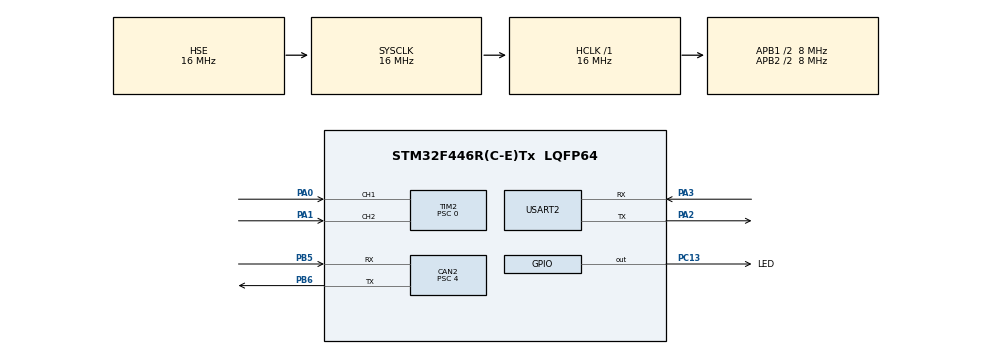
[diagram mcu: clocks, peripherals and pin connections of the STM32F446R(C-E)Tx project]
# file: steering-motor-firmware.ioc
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CAN2.BS1=CAN_BS1_2TQ
CAN2.CalculateBaudRate=500000
CAN2.CalculateTimeBit=2000
CAN2.CalculateTimeQuantum=500.0
CAN2.Prescaler=4
Mcu.Family=STM32F4
Mcu.Name=STM32F446R(C-E)Tx
Mcu.Package=LQFP64
NVIC.CAN2_RX0_IRQn=true\:0\:0\:false\:false\:true\:true\:true\:true
NVIC.CAN2_RX1_IRQn=true\:0\:0\:false\:false\:true\:true\:true\:true
NVIC.CAN2_TX_IRQn=true\:0\:0\:false\:false\:true\:true\:true\:true
NVIC.PriorityGroup=NVIC_PRIORITYGROUP_4
NVIC.TIM8_BRK_TIM12_IRQn=true\:0\:0\:false\:false\:true\:true\:true\:true
NVIC.TIM8_UP_TIM13_IRQn=true\:0\:0\:false\:false\:true\:true\:true\:true
PA0-WKUP.Signal=S_TIM2_CH1_ETR
PA1.Signal=S_TIM2_CH2
PA13.Mode=Serial_Wire
PA13.Signal=SYS_JTMS-SWDIO
PA14.Mode=Serial_Wire
PA14.Signal=SYS_JTCK-SWCLK
PA2.Mode=Asynchronous
PA2.Signal=USART2_TX
PA3.Mode=Asynchronous
PA3.Signal=USART2_RX
PB5.Mode=CAN_Activate
PB5.Signal=CAN2_RX
PB6.Mode=CAN_Activate
PB6.Signal=CAN2_TX
PC13.GPIO_Label=LED
PC13.Signal=GPIO_Output
PH0-OSC_IN.Mode=HSE-External-Oscillator
PH0-OSC_IN.Signal=RCC_OSC_IN
PH1-OSC_OUT.Mode=HSE-External-Oscillator
PH1-OSC_OUT.Signal=RCC_OSC_OUT
ProjectManager.HeapSize=0x200
ProjectManager.StackSize=0x400
ProjectManager.TargetToolchain=STM32CubeIDE
RCC.AHBFreq_Value=16000000
RCC.APB1CLKDivider=RCC_HCLK_DIV2
RCC.APB1Freq_Value=8000000
RCC.APB1TimFreq_Value=16000000
RCC.APB2CLKDivider=RCC_HCLK_DIV2
RCC.APB2Freq_Value=8000000
RCC.APB2TimFreq_Value=16000000
RCC.CortexFreq_Value=16000000
RCC.HCLKFreq_Value=16000000
RCC.HSE_VALUE=16000000
RCC.PLLM=4
RCC.PLLN=72
RCC.PLLSourceVirtual=RCC_PLLSOURCE_HSE
RCC.SYSCLKFreq_VALUE=16000000
RCC.SYSCLKSource=RCC_SYSCLKSOURCE_HSE
RCC.USBFreq_Value=144000000
RCC.VCOOutputFreq_Value=288000000
SH.S_TIM2_CH1_ETR.0=TIM2_CH1,Encoder_Interface
SH.S_TIM2_CH2.0=TIM2_CH2,Encoder_Interface
TIM1.Prescaler=16-1
TIM2.EncoderMode=TIM_ENCODERMODE_TI12
TIM2.Period=65535
TIM2.Prescaler=0
TIM8.Period=99
TIM8.Prescaler=15
USART2.VirtualMode=VM_ASYNC
VP_TIM1_VS_ClockSourceINT.Mode=Internal
VP_TIM5_VS_ClockSourceINT.Mode=Internal
VP_TIM8_VS_ClockSourceINT.Mode=Internal
board=custom

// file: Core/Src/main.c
/* USER CODE BEGIN Header */
/**
  ******************************************************************************
  * @file           : main.c
  * @brief          : Main program body
  ******************************************************************************
  * @attention
  *
  * Copyright (c) 2025 STMicroelectronics.
  * All rights reserved.
  *
  * This software is licensed under terms that can be found in the LICENSE file
  * in the root directory of this software component.
  * If no LICENSE file comes with this software, it is provided AS-IS.
  *
  ******************************************************************************
  */
/* USER CODE END Header */
#include "main.h"

/* USER CODE BEGIN Includes */
#include "CAN_processing.h"
/* USER CODE END Includes */

CAN_HandleTypeDef hcan2;

TIM_HandleTypeDef htim1;
TIM_HandleTypeDef htim2;
TIM_HandleTypeDef htim5;
TIM_HandleTypeDef htim8;

UART_HandleTypeDef huart2;

/* USER CODE BEGIN PV */
CAN_TxHeaderTypeDef TxHeader;
CAN_RxHeaderTypeDef RxHeader;
uint8_t txData[8];
uint8_t rxData[8];
uint32_t TxMailbox;
volatile int on_off  = 0;
/* USER CODE END PV */

void SystemClock_Config(void);
static void MX_GPIO_Init(void);
static void MX_TIM2_Init(void);
static void MX_TIM5_Init(void);
static void MX_TIM8_Init(void);
static void MX_TIM1_Init(void);
static void MX_CAN2_Init(void);
static void MX_USART2_UART_Init(void);
/* USER CODE BEGIN PFP */
#define PUTCHAR_PROTOTYPE int __io_putchar(int ch)
/* USER CODE END PFP */

/* USER CODE BEGIN 0 */
#include "encoder.h"
#include "motor.h"
#include "pid.h"

int datacheck = 0;

/* USER CODE END 0 */

int main(void)
{

  /* MCU Configuration--------------------------------------------------------*/

  /* Reset of all peripherals, Initializes the Flash interface and the Systick. */
  HAL_Init();

  /* Configure the system clock */
  SystemClock_Config();

  /* Initialize all configured peripherals */
  MX_GPIO_Init();
  MX_TIM2_Init();
  MX_TIM5_Init();
  MX_TIM8_Init();
  MX_TIM1_Init();
  MX_CAN2_Init();
  MX_USART2_UART_Init();
  /* USER CODE BEGIN 2 */

//  HAL_GPIO_TogglePin(LED_GPIO_Port, LED_Pin);
  HAL_TIM_Encoder_Start(&htim2, TIM_CHANNEL_ALL);
  HAL_TIMEx_PWMN_Start(&htim8, TIM_CHANNEL_1);
  set_motor_speed(0);
  set_motor_direction(1);
  TIM2->CNT = 0;
  double goal = 3.14/2;
//  printf("goal %f\r\n");
  setPIDGoalA(goal);

  /* CAN initialization below */
  CAN_FilterTypeDef canfilterconfig;

    canfilterconfig.FilterActivation = CAN_FILTER_ENABLE;
    canfilterconfig.FilterBank = 14;  // anything between 0 to SlaveStartFilterBank for can1. can 2 opposite.
    canfilterconfig.FilterFIFOAssignment = CAN_FILTER_FIFO0;
//    canfilterconfig.FilterIdHigh = 0x123<<5;
    canfilterconfig.FilterIdHigh = 0x0000;
    canfilterconfig.FilterIdLow = 0x0000; // comment out if we don't need filter in the end
//    canfilterconfig.FilterMaskIdHigh = 0x7FF<<5;
    canfilterconfig.FilterMaskIdHigh = 0x0000;
    canfilterconfig.FilterMaskIdLow = 0x0; // all filters may be 0000. Figure out later.
    canfilterconfig.FilterMode = CAN_FILTERMODE_IDMASK;
    canfilterconfig.FilterScale = CAN_FILTERSCALE_32BIT;
    canfilterconfig.SlaveStartFilterBank = 14;  // 13 to 27 are assigned to slave CAN (CAN 2) OR 0 to 12 are assgned to CAN1

  HAL_CAN_ConfigFilter(&hcan2, &canfilterconfig);
  HAL_CAN_Start(&hcan2);
  HAL_CAN_ActivateNotification(&hcan2, CAN_IT_RX_FIFO0_MSG_PENDING);

  HAL_CAN_ActivateNotification(&hcan2, CAN_IT_RX_FIFO1_MSG_PENDING);

  TxHeader.StdId = 0x321;
  TxHeader.ExtId = 0x01;
  TxHeader.RTR = CAN_RTR_DATA;
  TxHeader.IDE = CAN_ID_STD;
  TxHeader.DLC = 1;
  TxHeader.TransmitGlobalTime = DISABLE;
  txData[0] = 1;
  /* USER CODE END 2 */

  /* Infinite loop */
  /* USER CODE BEGIN WHILE */
  while (1){
//	  HAL_Delay(2000);
//	  goal = goal + 3.14/4;
//	  goal = fmod(goal, 2*3.14);
//	  setPIDGoalA(goal);

//	  print("%d\n\r", );
	  /*HAL_GPIO_TogglePin(LED_GPIO_Port, LED_Pin);
	  HAL_Delay(1000);*/

//	  HAL_CAN_AddTxMessage(&hcan2, &TxHeader, txData, &TxMailbox);

//	  setPIDGoalA(90);
//	  HAL_Delay(500);

	  if (datacheck == 1) {
		  HAL_GPIO_TogglePin(LED_GPIO_Port, LED_Pin);
		  datacheck = 0;
	  }
//	  setPIDGoalA(180);
//	  HAL_Delay(500);
//	  setPIDGoalA(0);
//	  HAL_Delay(500);
//	  HAL_GPIO_TogglePin(LED_GPIO_Port, LED_Pin);
//	  HAL_Delay(500);
    /* USER CODE END WHILE */

  }
}

void SystemClock_Config(void)
{
  RCC_OscInitTypeDef RCC_OscInitStruct = {0};
  RCC_ClkInitTypeDef RCC_ClkInitStruct = {0};

  /** Configure the main internal regulator output voltage
  */
  __HAL_RCC_PWR_CLK_ENABLE();
  __HAL_PWR_VOLTAGESCALING_CONFIG(PWR_REGULATOR_VOLTAGE_SCALE3);

  /** Initializes the RCC Oscillators according to the specified parameters
  * in the RCC_OscInitTypeDef structure.
  */
  RCC_OscInitStruct.OscillatorType = RCC_OSCILLATORTYPE_HSE;
  RCC_OscInitStruct.HSEState = RCC_HSE_ON;
  RCC_OscInitStruct.PLL.PLLState = RCC_PLL_NONE;
  if (HAL_RCC_OscConfig(&RCC_OscInitStruct) != HAL_OK)
  {
    Error_Handler();
  }

  /** Initializes the CPU, AHB and APB buses clocks
  */
  RCC_ClkInitStruct.ClockType = RCC_CLOCKTYPE_HCLK|RCC_CLOCKTYPE_SYSCLK
                              |RCC_CLOCKTYPE_PCLK1|RCC_CLOCKTYPE_PCLK2;
  RCC_ClkInitStruct.SYSCLKSource = RCC_SYSCLKSOURCE_HSE;
  RCC_ClkInitStruct.AHBCLKDivider = RCC_SYSCLK_DIV1;
  RCC_ClkInitStruct.APB1CLKDivider = RCC_HCLK_DIV2;
  RCC_ClkInitStruct.APB2CLKDivider = RCC_HCLK_DIV2;

  if (HAL_RCC_ClockConfig(&RCC_ClkInitStruct, FLASH_LATENCY_0) != HAL_OK)
  {
    Error_Handler();
  }
}

static void MX_CAN2_Init(void)
{

  hcan2.Instance = CAN2;
  hcan2.Init.Prescaler = 4;
  hcan2.Init.Mode = CAN_MODE_NORMAL;
  hcan2.Init.SyncJumpWidth = CAN_SJW_1TQ;
  hcan2.Init.TimeSeg1 = CAN_BS1_2TQ;
  hcan2.Init.TimeSeg2 = CAN_BS2_1TQ;
  hcan2.Init.TimeTriggeredMode = DISABLE;
  hcan2.Init.AutoBusOff = DISABLE;
  hcan2.Init.AutoWakeUp = DISABLE;
  hcan2.Init.AutoRetransmission = DISABLE;
  hcan2.Init.ReceiveFifoLocked = DISABLE;
  hcan2.Init.TransmitFifoPriority = DISABLE;
  if (HAL_CAN_Init(&hcan2) != HAL_OK)
  {
    Error_Handler();
  }

}

static void MX_TIM1_Init(void)
{

  TIM_ClockConfigTypeDef sClockSourceConfig = {0};
  TIM_MasterConfigTypeDef sMasterConfig = {0};

  htim1.Instance = TIM1;
  htim1.Init.Prescaler = 16-1;
  htim1.Init.CounterMode = TIM_COUNTERMODE_UP;
  htim1.Init.Period = 65535;
  htim1.Init.ClockDivision = TIM_CLOCKDIVISION_DIV1;
  htim1.Init.RepetitionCounter = 0;
  htim1.Init.AutoReloadPreload = TIM_AUTORELOAD_PRELOAD_DISABLE;
  if (HAL_TIM_Base_Init(&htim1) != HAL_OK)
  {
    Error_Handler();
  }
  sClockSourceConfig.ClockSource = TIM_CLOCKSOURCE_INTERNAL;
  if (HAL_TIM_ConfigClockSource(&htim1, &sClockSourceConfig) != HAL_OK)
  {
    Error_Handler();
  }
  sMasterConfig.MasterOutputTrigger = TIM_TRGO_RESET;
  sMasterConfig.MasterSlaveMode = TIM_MASTERSLAVEMODE_DISABLE;
  if (HAL_TIMEx_MasterConfigSynchronization(&htim1, &sMasterConfig) != HAL_OK)
  {
    Error_Handler();
  }

}

static void MX_TIM2_Init(void)
{

  TIM_Encoder_InitTypeDef sConfig = {0};
  TIM_MasterConfigTypeDef sMasterConfig = {0};

  htim2.Instance = TIM2;
  htim2.Init.Prescaler = 0;
  htim2.Init.CounterMode = TIM_COUNTERMODE_UP;
  htim2.Init.Period = 65535;
  htim2.Init.ClockDivision = TIM_CLOCKDIVISION_DIV1;
  htim2.Init.AutoReloadPreload = TIM_AUTORELOAD_PRELOAD_DISABLE;
  sConfig.EncoderMode = TIM_ENCODERMODE_TI12;
  sConfig.IC1Polarity = TIM_ICPOLARITY_RISING;
  sConfig.IC1Selection = TIM_ICSELECTION_DIRECTTI;
  sConfig.IC1Prescaler = TIM_ICPSC_DIV1;
  sConfig.IC1Filter = 0;
  sConfig.IC2Polarity = TIM_ICPOLARITY_RISING;
  sConfig.IC2Selection = TIM_ICSELECTION_DIRECTTI;
  sConfig.IC2Prescaler = TIM_ICPSC_DIV1;
  sConfig.IC2Filter = 0;
  if (HAL_TIM_Encoder_Init(&htim2, &sConfig) != HAL_OK)
  {
    Error_Handler();
  }
  sMasterConfig.MasterOutputTrigger = TIM_TRGO_RESET;
  sMasterConfig.MasterSlaveMode = TIM_MASTERSLAVEMODE_DISABLE;
  if (HAL_TIMEx_MasterConfigSynchronization(&htim2, &sMasterConfig) != HAL_OK)
  {
    Error_Handler();
  }

}

static void MX_TIM5_Init(void)
{

  TIM_ClockConfigTypeDef sClockSourceConfig = {0};
  TIM_MasterConfigTypeDef sMasterConfig = {0};

  htim5.Instance = TIM5;
  htim5.Init.Prescaler = 0;
  htim5.Init.CounterMode = TIM_COUNTERMODE_UP;
  htim5.Init.Period = 4294967295;
  htim5.Init.ClockDivision = TIM_CLOCKDIVISION_DIV1;
  htim5.Init.AutoReloadPreload = TIM_AUTORELOAD_PRELOAD_DISABLE;
  if (HAL_TIM_Base_Init(&htim5) != HAL_OK)
  {
    Error_Handler();
  }
  sClockSourceConfig.ClockSource = TIM_CLOCKSOURCE_INTERNAL;
  if (HAL_TIM_ConfigClockSource(&htim5, &sClockSourceConfig) != HAL_OK)
  {
    Error_Handler();
  }
  sMasterConfig.MasterOutputTrigger = TIM_TRGO_RESET;
  sMasterConfig.MasterSlaveMode = TIM_MASTERSLAVEMODE_DISABLE;
  if (HAL_TIMEx_MasterConfigSynchronization(&htim5, &sMasterConfig) != HAL_OK)
  {
    Error_Handler();
  }

}

static void MX_TIM8_Init(void)
{

  TIM_ClockConfigTypeDef sClockSourceConfig = {0};
  TIM_MasterConfigTypeDef sMasterConfig = {0};

  htim8.Instance = TIM8;
  htim8.Init.Prescaler = 15;
  htim8.Init.CounterMode = TIM_COUNTERMODE_UP;
  htim8.Init.Period = 99;
  htim8.Init.ClockDivision = TIM_CLOCKDIVISION_DIV1;
  htim8.Init.RepetitionCounter = 0;
  htim8.Init.AutoReloadPreload = TIM_AUTORELOAD_PRELOAD_DISABLE;
  if (HAL_TIM_Base_Init(&htim8) != HAL_OK)
  {
    Error_Handler();
  }
  sClockSourceConfig.ClockSource = TIM_CLOCKSOURCE_INTERNAL;
  if (HAL_TIM_ConfigClockSource(&htim8, &sClockSourceConfig) != HAL_OK)
  {
    Error_Handler();
  }
  sMasterConfig.MasterOutputTrigger = TIM_TRGO_RESET;
  sMasterConfig.MasterSlaveMode = TIM_MASTERSLAVEMODE_DISABLE;
  if (HAL_TIMEx_MasterConfigSynchronization(&htim8, &sMasterConfig) != HAL_OK)
  {
    Error_Handler();
  }

}

static void MX_USART2_UART_Init(void)
{

  huart2.Instance = USART2;
  huart2.Init.BaudRate = 115200;
  huart2.Init.WordLength = UART_WORDLENGTH_8B;
  huart2.Init.StopBits = UART_STOPBITS_1;
  huart2.Init.Parity = UART_PARITY_NONE;
  huart2.Init.Mode = UART_MODE_TX_RX;
  huart2.Init.HwFlowCtl = UART_HWCONTROL_NONE;
  huart2.Init.OverSampling = UART_OVERSAMPLING_16;
  if (HAL_UART_Init(&huart2) != HAL_OK)
  {
    Error_Handler();
  }

}

static void MX_GPIO_Init(void)
{
  GPIO_InitTypeDef GPIO_InitStruct = {0};

  /* GPIO Ports Clock Enable */
  __HAL_RCC_GPIOC_CLK_ENABLE();
  __HAL_RCC_GPIOH_CLK_ENABLE();
  __HAL_RCC_GPIOA_CLK_ENABLE();
  __HAL_RCC_GPIOB_CLK_ENABLE();

  /*Configure GPIO pin Output Level */
  HAL_GPIO_WritePin(LED_GPIO_Port, LED_Pin, GPIO_PIN_RESET);

  /*Configure GPIO pin : LED_Pin */
  GPIO_InitStruct.Pin = LED_Pin;
  GPIO_InitStruct.Mode = GPIO_MODE_OUTPUT_PP;
  GPIO_InitStruct.Pull = GPIO_NOPULL;
  GPIO_InitStruct.Speed = GPIO_SPEED_FREQ_LOW;
  HAL_GPIO_Init(LED_GPIO_Port, &GPIO_InitStruct);

}

/* USER CODE BEGIN 4 */

//void HAL_CAN_RxFifo0MsgPendingCallback(CAN_HandleTypeDef *hcan) {
//	HAL_CAN_GetRxMessage(&hcan2, CAN_RX_FIFO0, &RxHeader, rxData);
//	datacheck = 1;
//}

void HAL_CAN_RxFifo0MsgPendingCallback(CAN_HandleTypeDef *hcan) {
    // Keep reading until FIFO is empty, but only keep the last message
    while (HAL_CAN_GetRxFifoFillLevel(hcan, CAN_RX_FIFO0) > 0) {
        HAL_CAN_GetRxMessage(hcan, CAN_RX_FIFO0, &RxHeader, rxData);
    }
    datacheck = 1;
}

void HAL_CAN_RxFifo1MsgPendingCallback(CAN_HandleTypeDef *hcan) {
    datacheck = 2;  // Different flag to identify which FIFO
}

/**
  * @brief  Retargets the C library printf function to the USART.
  *   None
  * @retval None
  */
PUTCHAR_PROTOTYPE
{
  /* Place your implementation of fputc here */
  /* e.g. write a character to the USART1 and Loop until the end of transmission */
  HAL_UART_Transmit(&huart2, (uint8_t *)&ch, 1, 0xFFFF);

  return ch;
}

void HAL_GPIO_EXTI_Callback(uint16_t GPIO_PIN)
{

//  if (GPIO_PIN == NUCLEO_BUTTON_Pin)
//  {
//	  ParsedCANID canID = {
//			  .messageSender = MASTER,
//			  .motorType = STEERING_MOTOR,
//			  .motorConfig = SINGLE_MOTOR,
//			  .commandType = ACTION_RUN,
//			  .readSpec = READ_SPEED,
//			  .runSpec = RUN_POSITION,
//			  .motorID = RF_STEER,
//	  };
//	  HAL_GPIO_TogglePin(NUCLEO_LED_GPIO_Port, NUCLEO_LED_Pin);
//	  sendCANResponse(&canID, 1.0);

	  //Adding some junk code below to test if a basic message sends
//	  uint8_t				TxData[8];
//	  TxHeader.DLC = 8;
//	  	 TxHeader.ExtId = 0;
//	  	 TxHeader.IDE = CAN_ID_STD;
//	  	 TxHeader.RTR = CAN_RTR_DATA;
//	  	 TxHeader.StdId = txID;
//
//	  HAL_CAN_AddTxMessage(&hcan2, &TxHeader, txData, &TxMailbox);
//  }
}

/* USER CODE END 4 */

void Error_Handler(void)
{
  __disable_irq();
  while (1)
  {
  }
}
